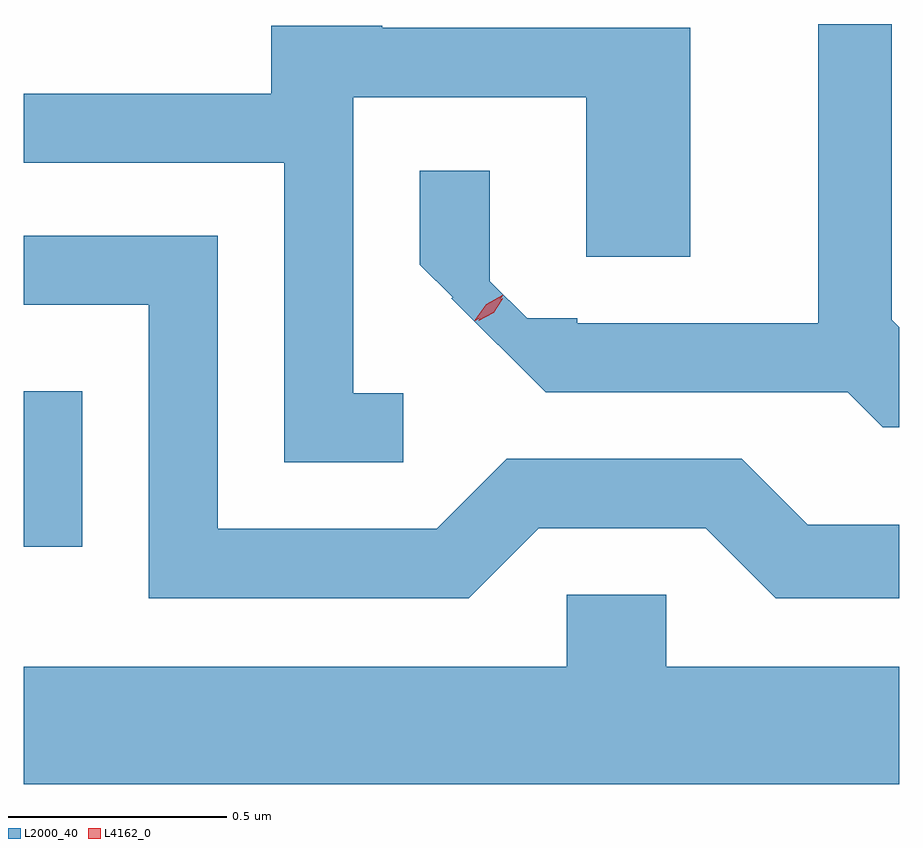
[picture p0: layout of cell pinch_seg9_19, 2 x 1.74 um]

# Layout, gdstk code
import gdstk
lib = gdstk.Library(unit=1e-6, precision=1e-09)
def R(c, l, rs):  # rectangles x0, y0, x1, y1
    for r in rs: c.add(gdstk.rectangle(r[:2], r[2:], *l))
def P(c, l, *ps):  # polygons
    for p in ps: c.add(gdstk.Polygon(p, *l))
L2000_40 = (2000, 40)
L4162_0 = (4162, 0)

pinch_seg9_19 = lib.new_cell('pinch_seg9_19')
R(pinch_seg9_19, L2000_40, [(1909.186,1985.698,1909.319,1986.054)])
P(pinch_seg9_19, L2000_40, [(1911.186,1986.2),(1911.169,1986.217),(1911.169,1986.893),(1911.001,1986.893),(1911.001,1986.209),(1910.45,1986.209),(1910.45,1986.22),(1910.336,1986.22),(1910.251,1986.305),(1910.251,1986.558),(1910.091,1986.558),(1910.091,1986.343),(1910.166,1986.268),(1910.163,1986.266),(1910.378,1986.051),(1911.069,1986.051),(1911.149,1985.971),(1911.186,1985.971)],
  [(1910.053,1986.049),(1909.939,1986.049),(1909.939,1986.726),(1910.471,1986.726),(1910.471,1986.361),(1910.709,1986.361),(1910.709,1986.884),(1910.005,1986.884),(1910.005,1986.889),(1909.751,1986.889),(1909.751,1986.734),(1909.186,1986.734),(1909.186,1986.576),(1909.781,1986.576),(1909.781,1985.891),(1910.053,1985.891)],
  [(1910.362,1985.741),(1910.744,1985.741),(1910.904,1985.581),(1911.186,1985.581),(1911.186,1985.749),(1910.977,1985.749),(1910.827,1985.899),(1910.289,1985.899),(1910.129,1985.739),(1909.629,1985.739),(1909.629,1986.409),(1909.186,1986.409),(1909.186,1986.251),(1909.471,1986.251),(1909.471,1985.581),(1910.202,1985.581)],
  [(1911.186,1985.424),(1910.654,1985.424),(1910.654,1985.589),(1910.426,1985.589),(1910.426,1985.424),(1909.186,1985.424),(1909.186,1985.156),(1911.186,1985.156)])
P(pinch_seg9_19, L4162_0, [(1910.216,1986.215),(1910.216,1986.216),(1910.242,1986.252),(1910.281,1986.274),(1910.281,1986.274),(1910.281,1986.274),(1910.255,1986.237),(1910.217,1986.215)],
  [(1910.225,1986.215),(1910.225,1986.216),(1910.246,1986.248),(1910.28,1986.266),(1910.28,1986.266),(1910.28,1986.265),(1910.26,1986.233),(1910.225,1986.215)])

lib.write_gds('pinch_seg9_19.gds')
